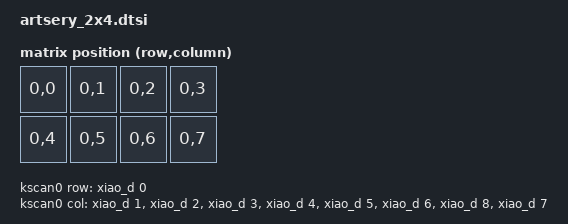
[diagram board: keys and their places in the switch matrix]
#include <dt-bindings/zmk/matrix_transform.h>

/ {
    chosen {
        zmk,kscan = &kscan0;
        zmk,matrix_transform = &default_transform;
    };

    default_transform: keymap_transform_0 {
        compatible = "zmk,matrix-transform";
        columns = <4>;
        rows = <2>;
        map = <
RC(0,0) RC(0,1) RC(0,2) RC(0,3)
RC(0,4) RC(0,5) RC(0,6) RC(0,7)
        >;
    };

    kscan0: kscan {
        compatible = "zmk,kscan-gpio-matrix";
        label = "KSCAN";

        diode-direction = "col2row";
        row-gpios
            = <&xiao_d 0 (GPIO_ACTIVE_HIGH | GPIO_PULL_DOWN)>
            ;

        col-gpios
            = <&xiao_d 1 GPIO_ACTIVE_HIGH>
            , <&xiao_d 2 GPIO_ACTIVE_HIGH>
            , <&xiao_d 3 GPIO_ACTIVE_HIGH>
            , <&xiao_d 4 GPIO_ACTIVE_HIGH>
            , <&xiao_d 5 GPIO_ACTIVE_HIGH>
            , <&xiao_d 6 GPIO_ACTIVE_HIGH>
            , <&xiao_d 8 GPIO_ACTIVE_HIGH>
            , <&xiao_d 7 GPIO_ACTIVE_HIGH>
            ;

    };
};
